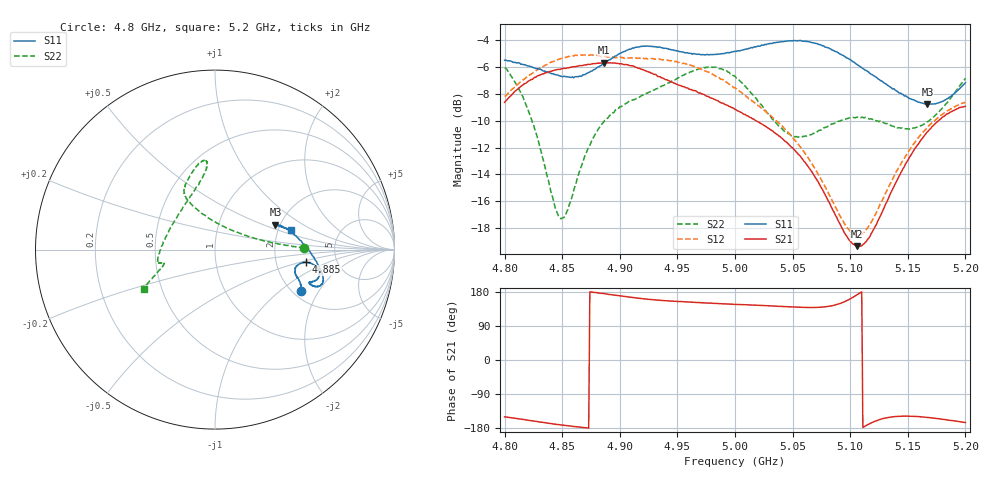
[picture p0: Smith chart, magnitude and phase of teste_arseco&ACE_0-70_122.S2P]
! Network Analyzer HP8722D
! Hewlett-Packard
! Data name: Linha & Wilkinson
! Saver's name: Rodrigo Anjos
! Comments: Teste da utilização de aquisição
! continua pelo VNA HP8722D
! Time and date: 8/5/2025 13:46
!  Frequency  S11  S21  S12  S22
# HZ  S  MA R 50
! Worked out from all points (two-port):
!   401 points, 4.8 GHz to 5.2 GHz, reference 50 ohm
!   highest |S21| = -5.68 dB at 4.886 GHz (marker M1); lowest = -19.3 dB at 5.106 GHz (marker M2)
!   |S21| within 3 dB of the highest: start of sweep to 4.988 GHz
!   lowest |S11| = -8.8 dB at 5.167 GHz (marker M3), VSWR 2.15, Z = 94.4 + j30.3 ohm
!   |S11| at or under -10 dB: nowhere
!   |S22| runs from -17.3 to -6.0 dB; largest |S21 - S12| = 1.1
!   S11 on the Smith chart (normalised r, x): 4.8 GHz: 2.22, -1.41; 4.885 GHz: 2.99, -0.57; 5.2 GHz: 2.35, +0.64
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4.8e9  0.5311 -25.5  0.3701 -150.0  0.3898 9.1  0.4979 1.1
4.821e9  0.5053 -20.6  0.4445 -159.3  0.4652 5.9  0.3407 6.0
4.847e9  0.4654 -16.7  0.4916 -170.4  0.5352 2.1  0.139 53.6
4.853e9  0.4611 -15.0  0.4948 -172.8  0.5439 0.9  0.1413 78.6
4.867e9  0.4637 -11.1  0.5067 -177.8  0.5549 -1.0  0.216 110.6
4.885e9  0.5139 -7.8  0.5191 175.8  0.5498 -2.2  0.3093 118.5
4.886e9  0.5154 -7.8  0.5199 175.5  0.5506 -2.2  0.3127 118.9
4.912e9  0.5885 -11.3  0.5053 164.6  0.5388 -1.6  0.3781 116.7
4.934e9  0.5952 -16.2  0.4611 157.6  0.5367 -2.6  0.4206 110.8
4.975e9  0.5569 -19.3  0.3907 150.5  0.4827 -6.1  0.5005 97.7
5e9  0.5731 -20.1  0.3486 146.6  0.4194 -5.9  0.4628 95.9
5.018e9  0.595 -20.2  0.3163 144.7  0.3663 -3.4  0.3845 103.2
5.044e9  0.6246 -18.1  0.2645 140.8  0.292 2.1  0.2864 131.9
5.067e9  0.6171 -13.8  0.2035 138.5  0.2183 9.0  0.2816 165.0
5.095e9  0.5486 -4.2  0.121 153.7  0.131 33.8  0.32 -172.0
5.106e9  0.5117 1.0  0.1079 172.3  0.1183 54.8  0.3263 -168.3
5.116e9  0.4797 6.0  0.1154 -169.6  0.128 74.4  0.3218 -166.8
5.134e9  0.4242 14.9  0.1658 -151.1  0.1815 94.5  0.3055 -166.1
5.151e9  0.3834 20.7  0.2293 -148.1  0.2447 100.1  0.2939 -164.7
5.167e9  0.3644 22.5  0.2872 -151.5  0.2986 101.2  0.314 -161.6
5.183e9  0.3791 20.2  0.3324 -157.5  0.3412 101.2  0.364 -156.8
5.2e9  0.4381 14.5  0.3576 -164.9  0.3711 101.6  0.4551 -151.0
